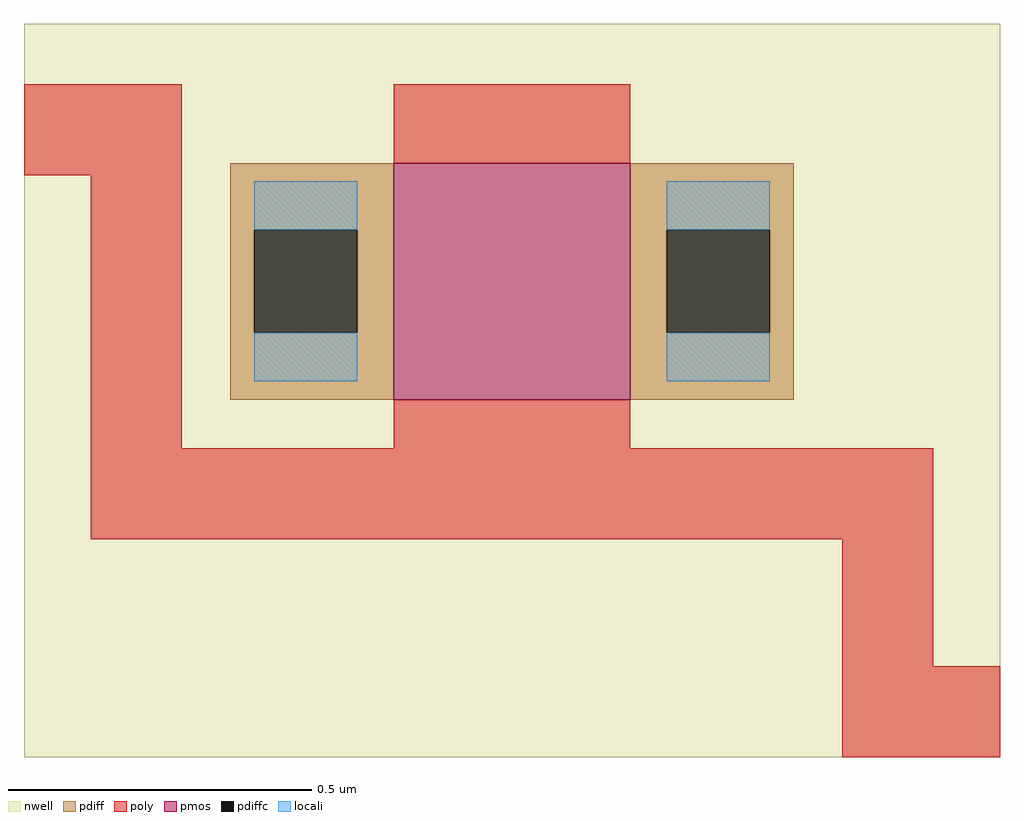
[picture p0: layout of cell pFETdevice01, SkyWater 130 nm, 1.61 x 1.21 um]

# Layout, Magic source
magic
tech sky130A
<< nwell >>
rect -79 -78 82 43
<< pmos >>
rect -18 -19 21 20
<< pdiff >>
rect -45 9 -18 20
rect -45 -8 -41 9
rect -24 -8 -18 9
rect -45 -19 -18 -8
rect 21 9 48 20
rect 21 -8 27 9
rect 44 -8 48 9
rect 21 -19 48 -8
<< pdiffc >>
rect -41 -8 -24 9
rect 27 -8 44 9
<< poly >>
rect -79 18 -53 33
rect -18 20 21 33
rect -68 -27 -53 18
rect -18 -27 21 -19
rect -68 -42 71 -27
rect 56 -63 71 -42
rect 56 -78 82 -63
<< locali >>
rect -41 9 -24 17
rect -41 -16 -24 -8
rect 27 9 44 17
rect 27 -16 44 -8
<< end >>
